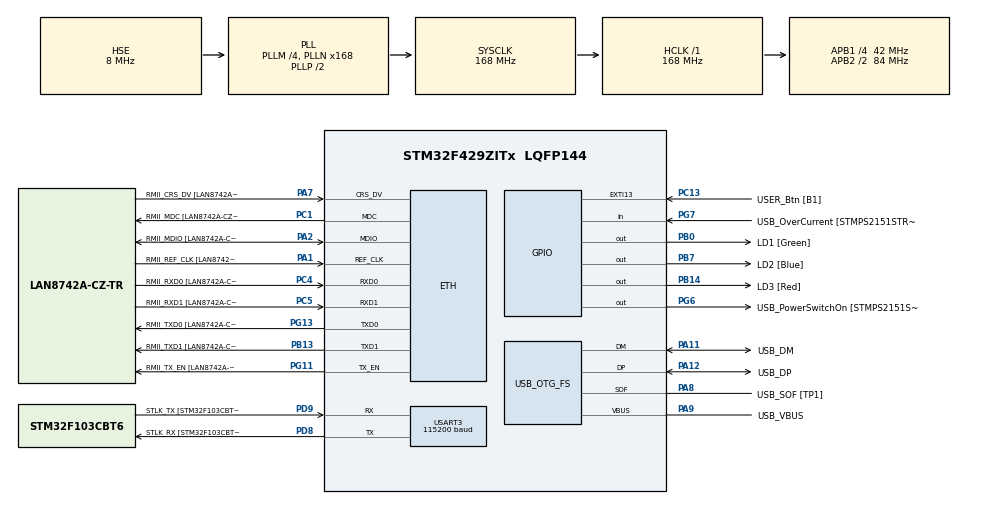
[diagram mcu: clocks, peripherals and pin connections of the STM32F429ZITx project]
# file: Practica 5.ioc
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ETH.MediaInterface=HAL_ETH_RMII_MODE
ETH.PHY_Name=LAN8742A_PHY_ADDRESS
ETH.PHY_Value=0
ETH.PhyAddress=0
Mcu.Family=STM32F4
Mcu.Name=STM32F429ZITx
Mcu.Package=LQFP144
NVIC.PriorityGroup=NVIC_PRIORITYGROUP_4
PA1.GPIO_Label=RMII_REF_CLK [LAN8742A-CZ-TR_REFCLK0]
PA1.Mode=RMII
PA1.Signal=ETH_REF_CLK
PA10.GPIO_Label=USB_ID
PA10.Signal=USB_OTG_FS_ID
PA11.GPIO_Label=USB_DM
PA11.Mode=Device_Only
PA11.Signal=USB_OTG_FS_DM
PA12.GPIO_Label=USB_DP
PA12.Mode=Device_Only
PA12.Signal=USB_OTG_FS_DP
PA13.GPIO_Label=TMS
PA13.Mode=Serial_Wire
PA13.Signal=SYS_JTMS-SWDIO
PA14.GPIO_Label=TCK
PA14.Mode=Serial_Wire
PA14.Signal=SYS_JTCK-SWCLK
PA2.GPIO_Label=RMII_MDIO [LAN8742A-CZ-TR_MDIO]
PA2.Mode=RMII
PA2.Signal=ETH_MDIO
PA7.GPIO_Label=RMII_CRS_DV [LAN8742A-CZ-TR_CRS_DV]
PA7.Mode=RMII
PA7.Signal=ETH_CRS_DV
PA8.GPIO_Label=USB_SOF [TP1]
PA8.Mode=Activate_SOF_FS
PA8.Signal=USB_OTG_FS_SOF
PA9.GPIO_Label=USB_VBUS
PA9.Mode=Activate_VBUS
PA9.Signal=USB_OTG_FS_VBUS
PB0.GPIO_Label=LD1 [Green]
PB0.Signal=GPIO_Output
PB13.GPIO_Label=RMII_TXD1 [LAN8742A-CZ-TR_TXD1]
PB13.Mode=RMII
PB13.Signal=ETH_TXD1
PB14.GPIO_Label=LD3 [Red]
PB14.Signal=GPIO_Output
PB7.GPIO_Label=LD2 [Blue]
PB7.Signal=GPIO_Output
PC1.GPIO_Label=RMII_MDC [LAN8742A-CZ-TR_MDC]
PC1.Mode=RMII
PC1.Signal=ETH_MDC
PC13.GPIO_Label=USER_Btn [B1]
PC13.Signal=GPXTI13
PC14/OSC32_IN.Mode=LSE-External-Oscillator
PC14/OSC32_IN.Signal=RCC_OSC32_IN
PC15/OSC32_OUT.Mode=LSE-External-Oscillator
PC15/OSC32_OUT.Signal=RCC_OSC32_OUT
PC4.GPIO_Label=RMII_RXD0 [LAN8742A-CZ-TR_RXD0]
PC4.Mode=RMII
PC4.Signal=ETH_RXD0
PC5.GPIO_Label=RMII_RXD1 [LAN8742A-CZ-TR_RXD1]
PC5.Mode=RMII
PC5.Signal=ETH_RXD1
PD8.GPIO_Label=STLK_RX [STM32F103CBT6_PA3]
PD8.Mode=Asynchronous
PD8.Signal=USART3_TX
PD9.GPIO_Label=STLK_TX [STM32F103CBT6_PA2]
PD9.Mode=Asynchronous
PD9.Signal=USART3_RX
PG11.GPIO_Label=RMII_TX_EN [LAN8742A-CZ-TR_TXEN]
PG11.Mode=RMII
PG11.Signal=ETH_TX_EN
PG13.GPIO_Label=RMII_TXD0 [LAN8742A-CZ-TR_TXD0]
PG13.Mode=RMII
PG13.Signal=ETH_TXD0
PG6.GPIO_Label=USB_PowerSwitchOn [STMPS2151STR_EN]
PG6.Signal=GPIO_Output
PG7.GPIO_Label=USB_OverCurrent [STMPS2151STR_FAULT]
PG7.Signal=GPIO_Input
PH0/OSC_IN.GPIO_Label=MCO [STM32F103CBT6_PA8]
PH0/OSC_IN.Mode=HSE-External-Clock-Source
PH0/OSC_IN.Signal=RCC_OSC_IN
PH1/OSC_OUT.Mode=HSE-External-Clock-Source
PH1/OSC_OUT.Signal=RCC_OSC_OUT
ProjectManager.HeapSize=0x200
ProjectManager.StackSize=0x400
ProjectManager.TargetToolchain=STM32CubeIDE
RCC.48MHZClocksFreq_Value=48000000
RCC.AHBFreq_Value=168000000
RCC.APB1CLKDivider=RCC_HCLK_DIV4
RCC.APB1Freq_Value=42000000
RCC.APB1TimFreq_Value=84000000
RCC.APB2CLKDivider=RCC_HCLK_DIV2
RCC.APB2Freq_Value=84000000
RCC.APB2TimCLKDivider=2
RCC.APB2TimFreq_Value=168000000
RCC.CortexFreq_Value=168000000
RCC.HCLKFreq_Value=168000000
RCC.HSE_VALUE=8000000
RCC.HSI_VALUE=16000000
RCC.PLLM=4
RCC.PLLMUL=RCC_PLL_MUL9
RCC.PLLN=168
RCC.PLLQ=7
RCC.PRESCALERUSB=RCC_USBCLKSOURCE_PLL_DIV1_5
RCC.SYSCLKFreq_VALUE=168000000
RCC.SYSCLKSource=RCC_SYSCLKSOURCE_PLLCLK
RCC.SYSCLKSourceVirtual=RCC_SYSCLKSOURCE_PLLCLK
RCC.USBFreq_Value=48000000
RCC.VCOOutputFreq_Value=336000000
USART3.BaudRate=115200
USART3.VirtualMode=VM_ASYNC
USART3.WordLength=WORDLENGTH_8B
USB_OTG_FS.VirtualMode=Device_Only
board=NUCLEO-F429ZI

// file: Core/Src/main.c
/* USER CODE BEGIN Header */
/**
 ******************************************************************************
 * @file           : main.c
 * @brief          : Main program body
 ******************************************************************************
 * @attention
 *
 * Copyright (c) 2024 STMicroelectronics.
 * All rights reserved.
 *
 * This software is licensed under terms that can be found in the LICENSE file
 * in the root directory of this software component.
 * If no LICENSE file comes with this software, it is provided AS-IS.
 *
 ******************************************************************************
 */
/* USER CODE END Header */
#include "main.h"
#include "usart.h"
#include "gpio.h"

/* USER CODE BEGIN PM */

/* Hago overflow a 0 cuando la variable llega al límite dado */
#define INC_SATURADO(variable, limite) do { \
    (variable)++; \
    if ((variable) >= (limite)) { \
        (variable) = 0; \
    } \
} while (0)

/* Devuelvo el tamaño de un array */
#define DIM(x) (sizeof(x)/sizeof(x[0]))

/* USER CODE END PM */

/* USER CODE BEGIN PV */

static const tick_t FAST_LED_TICKS = 100;
static const tick_t SLOW_LED_TICKS = 500;

/* USER CODE END PV */

void SystemClock_Config(void);

/* USER CODE BEGIN 0 */

void presionado()
{
    uartSendString((const uint8_t*) "Flanco descendente\r\n");
}

void liberado()
{
    uartSendString((const uint8_t*) "Flanco ascendente\r\n");
}

/* USER CODE END 0 */

int main(void)
{

    /* MCU Configuration--------------------------------------------------------*/

    /* Reset of all peripherals, Initializes the Flash interface and the Systick. */
    HAL_Init();

    /* Configure the system clock */
    SystemClock_Config();

    /* Initialize all configured peripherals */
    MX_GPIO_Init();
    MX_USART3_UART_Init();
    /* USER CODE BEGIN 2 */

    /* Init code */
    BSP_LED_Init(LED1);
    BSP_LED_Init(LED2);
    BSP_LED_Init(LED3);
    BSP_PB_Init(BUTTON_USER, BUTTON_MODE_GPIO);

    debounceFSM_init(presionado, liberado);
    assert(uartInit());

    bool fast = false;
    delay_t led_delay;
    delayInit(&led_delay, fast ? FAST_LED_TICKS : SLOW_LED_TICKS);

    /* USER CODE END 2 */

    /* Infinite loop */
    /* USER CODE BEGIN WHILE */
    uartSendString((const uint8_t*) "Iniciando programa\r\n");

    while (1) {
        /* USER CODE END WHILE */

        /* USER CODE BEGIN 3 */
        debounceFSM_update();
        if (readKey()) {
            fast = !fast;
        }
        if (delayRead(&led_delay)) {
            delayWrite(&led_delay, fast ? FAST_LED_TICKS : SLOW_LED_TICKS);
            BSP_LED_Toggle(LED1);
        }
    }
    /* USER CODE END 3 */
}

void SystemClock_Config(void)
{
    RCC_OscInitTypeDef RCC_OscInitStruct = { 0 };
    RCC_ClkInitTypeDef RCC_ClkInitStruct = { 0 };

    /** Configure the main internal regulator output voltage
     */
    __HAL_RCC_PWR_CLK_ENABLE();
    __HAL_PWR_VOLTAGESCALING_CONFIG(PWR_REGULATOR_VOLTAGE_SCALE1);

    /** Initializes the RCC Oscillators according to the specified parameters
     * in the RCC_OscInitTypeDef structure.
     */
    RCC_OscInitStruct.OscillatorType = RCC_OSCILLATORTYPE_HSE;
    RCC_OscInitStruct.HSEState = RCC_HSE_BYPASS;
    RCC_OscInitStruct.PLL.PLLState = RCC_PLL_ON;
    RCC_OscInitStruct.PLL.PLLSource = RCC_PLLSOURCE_HSE;
    RCC_OscInitStruct.PLL.PLLM = 4;
    RCC_OscInitStruct.PLL.PLLN = 168;
    RCC_OscInitStruct.PLL.PLLP = RCC_PLLP_DIV2;
    RCC_OscInitStruct.PLL.PLLQ = 7;
    if (HAL_RCC_OscConfig(&RCC_OscInitStruct) != HAL_OK) {
        Error_Handler();
    }

    /** Initializes the CPU, AHB and APB buses clocks
     */
    RCC_ClkInitStruct.ClockType = RCC_CLOCKTYPE_HCLK | RCC_CLOCKTYPE_SYSCLK
                    | RCC_CLOCKTYPE_PCLK1 | RCC_CLOCKTYPE_PCLK2;
    RCC_ClkInitStruct.SYSCLKSource = RCC_SYSCLKSOURCE_PLLCLK;
    RCC_ClkInitStruct.AHBCLKDivider = RCC_SYSCLK_DIV1;
    RCC_ClkInitStruct.APB1CLKDivider = RCC_HCLK_DIV4;
    RCC_ClkInitStruct.APB2CLKDivider = RCC_HCLK_DIV2;

    if (HAL_RCC_ClockConfig(&RCC_ClkInitStruct, FLASH_LATENCY_5) != HAL_OK) {
        Error_Handler();
    }
}

void Error_Handler(void)
{
    __disable_irq();
    while (1) {
    }
}
